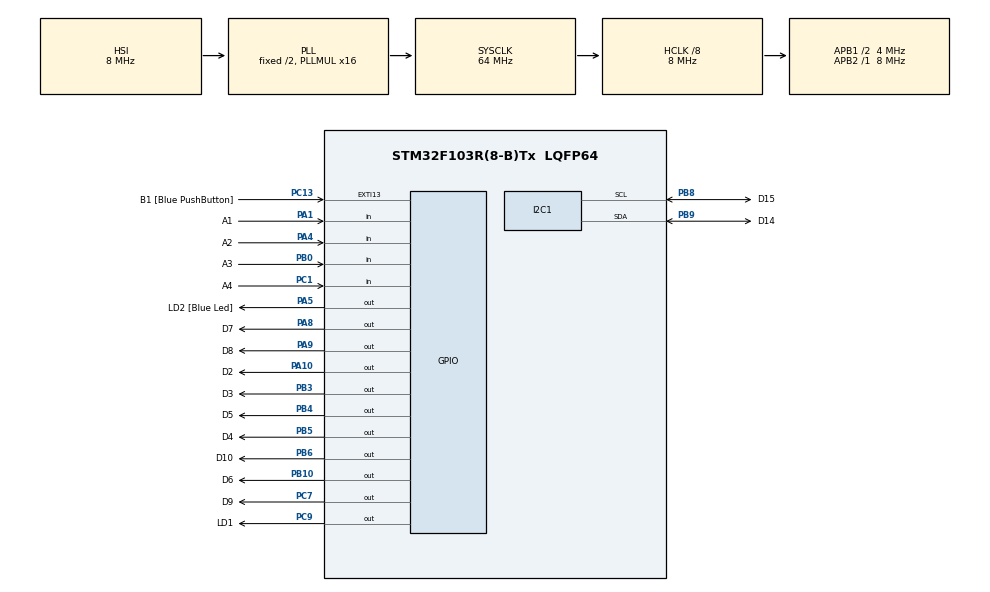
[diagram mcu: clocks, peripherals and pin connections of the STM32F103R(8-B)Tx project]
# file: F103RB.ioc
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Mcu.Family=STM32F1
Mcu.Name=STM32F103R(8-B)Tx
Mcu.Package=LQFP64
NVIC.EXTI15_10_IRQn=true\:0\:0\:false\:false\:true\:true\:true
NVIC.PriorityGroup=NVIC_PRIORITYGROUP_4
NVIC.TIM2_IRQn=true\:0\:0\:false\:false\:true\:true\:true
PA1.GPIO_Label=A1
PA1.GPIO_PuPd=GPIO_PULLUP
PA1.Signal=GPIO_Input
PA10.GPIO_Label=D2
PA10.Signal=GPIO_Output
PA13.GPIO_Label=TMS
PA13.Mode=Serial_Wire
PA13.Signal=SYS_JTMS-SWDIO
PA14.GPIO_Label=TCK
PA14.Mode=Serial_Wire
PA14.Signal=SYS_JTCK-SWCLK
PA2.GPIO_Label=USART_TX
PA2.GPIO_Mode=GPIO_MODE_AF_PP
PA2.GPIO_PuPd=GPIO_NOPULL
PA2.GPIO_Speed=GPIO_SPEED_FREQ_LOW
PA2.Signal=USART2_TX
PA3.GPIO_Label=USART_RX
PA3.GPIO_Mode=GPIO_MODE_AF_PP
PA3.GPIO_PuPd=GPIO_NOPULL
PA3.GPIO_Speed=GPIO_SPEED_FREQ_LOW
PA3.Signal=USART2_RX
PA4.GPIO_Label=A2
PA4.GPIO_PuPd=GPIO_PULLUP
PA4.Signal=GPIO_Input
PA5.GPIO_Label=LD2 [Blue Led]
PA5.GPIO_ModeDefaultOutputPP=GPIO_MODE_OUTPUT_PP
PA5.GPIO_PuPd=GPIO_NOPULL
PA5.GPIO_Speed=GPIO_SPEED_FREQ_LOW
PA5.Signal=GPIO_Output
PA8.GPIO_Label=D7
PA8.Signal=GPIO_Output
PA9.GPIO_Label=D8
PA9.Signal=GPIO_Output
PB0.GPIO_Label=A3
PB0.GPIO_PuPd=GPIO_PULLUP
PB0.Signal=GPIO_Input
PB10.GPIO_Label=D6
PB10.Signal=GPIO_Output
PB3.GPIO_Label=D3
PB3.Signal=GPIO_Output
PB4.GPIO_Label=D5
PB4.Signal=GPIO_Output
PB5.GPIO_Label=D4
PB5.Signal=GPIO_Output
PB6.GPIO_Label=D10
PB6.Signal=GPIO_Output
PB8.GPIO_Label=D15
PB8.Mode=I2C
PB8.Signal=I2C1_SCL
PB9.GPIO_Label=D14
PB9.Mode=I2C
PB9.Signal=I2C1_SDA
PC1.GPIO_Label=A4
PC1.GPIO_PuPd=GPIO_PULLUP
PC1.Signal=GPIO_Input
PC13-TAMPER-RTC.GPIO_Label=B1 [Blue PushButton]
PC13-TAMPER-RTC.GPIO_PuPd=GPIO_PULLUP
PC13-TAMPER-RTC.Signal=GPXTI13
PC14-OSC32_IN.Mode=LSE-External-Oscillator
PC14-OSC32_IN.Signal=RCC_OSC32_IN
PC15-OSC32_OUT.Mode=LSE-External-Oscillator
PC15-OSC32_OUT.Signal=RCC_OSC32_OUT
PC7.GPIO_Label=D9
PC7.Signal=GPIO_Output
PC9.GPIO_Label=LD1
PC9.Signal=GPIO_Output
PD0-OSC_IN.Mode=HSE-External-Clock-Source
PD0-OSC_IN.Signal=RCC_OSC_IN
PD1-OSC_OUT.Mode=HSE-External-Clock-Source
PD1-OSC_OUT.Signal=RCC_OSC_OUT
ProjectManager.HeapSize=0x200
ProjectManager.StackSize=0x400
ProjectManager.TargetToolchain=STM32CubeIDE
RCC.AHBCLKDivider=RCC_SYSCLK_DIV8
RCC.AHBFreq_Value=8000000
RCC.APB1CLKDivider=RCC_HCLK_DIV2
RCC.APB1Freq_Value=4000000
RCC.APB1TimFreq_Value=8000000
RCC.APB2Freq_Value=8000000
RCC.APB2TimFreq_Value=8000000
RCC.HCLKFreq_Value=8000000
RCC.PLLMUL=RCC_PLL_MUL16
RCC.RTCClockSelection=RCC_RTCCLKSOURCE_LSE
RCC.SYSCLKFreq_VALUE=64000000
RCC.SYSCLKSource=RCC_SYSCLKSOURCE_PLLCLK
RCC.USBFreq_Value=64000000
TIM2.Period=9
TIM2.Prescaler=6399
VP_TIM2_VS_ClockSourceINT.Mode=Internal
board=NUCLEO-F103RB

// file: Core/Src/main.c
/* USER CODE BEGIN Header */
/**
  ******************************************************************************
  * @file           : main.c
  * @brief          : Main program body
  ******************************************************************************
  * @attention
  *
  * <h2><center>&copy; Copyright (c) 2024 STMicroelectronics.
  * All rights reserved.</center></h2>
  *
  * This software component is licensed by ST under BSD 3-Clause license,
  * the "License"; You may not use this file except in compliance with the
  * License. You may obtain a copy of the License at:
  *                        opensource.org/licenses/BSD-3-Clause
  *
  ******************************************************************************
  */
/* USER CODE END Header */
#include "main.h"

/* USER CODE BEGIN Includes */
#include "global.h"
/* USER CODE END Includes */

I2C_HandleTypeDef hi2c1;

TIM_HandleTypeDef htim2;

void SystemClock_Config(void);
static void MX_GPIO_Init(void);
static void MX_TIM2_Init(void);
static void MX_I2C1_Init(void);

/* USER CODE BEGIN 0 */
	void test_io(){
		HAL_GPIO_WritePin(GPIOA, A1_Pin | A2_Pin, 0);
		HAL_GPIO_WritePin(LD2_GPIO_Port, LD2_Pin, HAL_GPIO_ReadPin(A1_GPIO_Port, A1_Pin));
		HAL_GPIO_WritePin(LD1_GPIO_Port, LD1_Pin, HAL_GPIO_ReadPin(A2_GPIO_Port, A2_Pin));

	}
	void ledBlinky(){
		HAL_GPIO_TogglePin(LD2_GPIO_Port, LD2_Pin);
	}
/* USER CODE END 0 */

int main(void)
{

  /* MCU Configuration--------------------------------------------------------*/

  /* Reset of all peripherals, Initializes the Flash interface and the Systick. */
  HAL_Init();

  /* Configure the system clock */
  SystemClock_Config();

  /* Initialize all configured peripherals */
  MX_GPIO_Init();
  MX_TIM2_Init();
  MX_I2C1_Init();
  /* USER CODE BEGIN 2 */
  lcd_init();
    SCH_Init();
  HAL_TIM_Base_Start_IT(&htim2);

  /* USER CODE END 2 */

  /* Infinite loop */
  /* USER CODE BEGIN WHILE */
//  setTimer(0, 100);//time automatic
//  setTimer(1, 100);//lcd
//  //setTimer(2, 100);//count down
//  setTimer(4, 100);//toggle led0
  SCH_Add_Task(getKeyInput, 1, 1, 10);
  SCH_Add_Task(ledBlinky, 2, 50, 9);
  SCH_Add_Task(fsm_automatic_run, 2, 100, 1);

  while (1)
  {
	  SCH_Dispatch_Tasks();

    /* USER CODE END WHILE */

  }
}

void SystemClock_Config(void)
{
  RCC_OscInitTypeDef RCC_OscInitStruct = {0};
  RCC_ClkInitTypeDef RCC_ClkInitStruct = {0};

  /** Initializes the RCC Oscillators according to the specified parameters
  * in the RCC_OscInitTypeDef structure.
  */
  RCC_OscInitStruct.OscillatorType = RCC_OSCILLATORTYPE_HSI;
  RCC_OscInitStruct.HSIState = RCC_HSI_ON;
  RCC_OscInitStruct.HSICalibrationValue = RCC_HSICALIBRATION_DEFAULT;
  RCC_OscInitStruct.PLL.PLLState = RCC_PLL_ON;
  RCC_OscInitStruct.PLL.PLLSource = RCC_PLLSOURCE_HSI_DIV2;
  RCC_OscInitStruct.PLL.PLLMUL = RCC_PLL_MUL16;
  if (HAL_RCC_OscConfig(&RCC_OscInitStruct) != HAL_OK)
  {
    Error_Handler();
  }
  /** Initializes the CPU, AHB and APB buses clocks
  */
  RCC_ClkInitStruct.ClockType = RCC_CLOCKTYPE_HCLK|RCC_CLOCKTYPE_SYSCLK
                              |RCC_CLOCKTYPE_PCLK1|RCC_CLOCKTYPE_PCLK2;
  RCC_ClkInitStruct.SYSCLKSource = RCC_SYSCLKSOURCE_PLLCLK;
  RCC_ClkInitStruct.AHBCLKDivider = RCC_SYSCLK_DIV8;
  RCC_ClkInitStruct.APB1CLKDivider = RCC_HCLK_DIV2;
  RCC_ClkInitStruct.APB2CLKDivider = RCC_HCLK_DIV1;

  if (HAL_RCC_ClockConfig(&RCC_ClkInitStruct, FLASH_LATENCY_2) != HAL_OK)
  {
    Error_Handler();
  }
}

static void MX_I2C1_Init(void)
{

  hi2c1.Instance = I2C1;
  hi2c1.Init.ClockSpeed = 100000;
  hi2c1.Init.DutyCycle = I2C_DUTYCYCLE_2;
  hi2c1.Init.OwnAddress1 = 0;
  hi2c1.Init.AddressingMode = I2C_ADDRESSINGMODE_7BIT;
  hi2c1.Init.DualAddressMode = I2C_DUALADDRESS_DISABLE;
  hi2c1.Init.OwnAddress2 = 0;
  hi2c1.Init.GeneralCallMode = I2C_GENERALCALL_DISABLE;
  hi2c1.Init.NoStretchMode = I2C_NOSTRETCH_DISABLE;
  if (HAL_I2C_Init(&hi2c1) != HAL_OK)
  {
    Error_Handler();
  }

}

static void MX_TIM2_Init(void)
{

  TIM_ClockConfigTypeDef sClockSourceConfig = {0};
  TIM_MasterConfigTypeDef sMasterConfig = {0};

  htim2.Instance = TIM2;
  htim2.Init.Prescaler = 6399;
  htim2.Init.CounterMode = TIM_COUNTERMODE_UP;
  htim2.Init.Period = 9;
  htim2.Init.ClockDivision = TIM_CLOCKDIVISION_DIV1;
  htim2.Init.AutoReloadPreload = TIM_AUTORELOAD_PRELOAD_DISABLE;
  if (HAL_TIM_Base_Init(&htim2) != HAL_OK)
  {
    Error_Handler();
  }
  sClockSourceConfig.ClockSource = TIM_CLOCKSOURCE_INTERNAL;
  if (HAL_TIM_ConfigClockSource(&htim2, &sClockSourceConfig) != HAL_OK)
  {
    Error_Handler();
  }
  sMasterConfig.MasterOutputTrigger = TIM_TRGO_RESET;
  sMasterConfig.MasterSlaveMode = TIM_MASTERSLAVEMODE_DISABLE;
  if (HAL_TIMEx_MasterConfigSynchronization(&htim2, &sMasterConfig) != HAL_OK)
  {
    Error_Handler();
  }

}

static void MX_GPIO_Init(void)
{
  GPIO_InitTypeDef GPIO_InitStruct = {0};

  /* GPIO Ports Clock Enable */
  __HAL_RCC_GPIOC_CLK_ENABLE();
  __HAL_RCC_GPIOD_CLK_ENABLE();
  __HAL_RCC_GPIOA_CLK_ENABLE();
  __HAL_RCC_GPIOB_CLK_ENABLE();

  /*Configure GPIO pin Output Level */
  HAL_GPIO_WritePin(GPIOA, LD2_Pin|D7_Pin|D8_Pin|D2_Pin, GPIO_PIN_RESET);

  /*Configure GPIO pin Output Level */
  HAL_GPIO_WritePin(GPIOB, D6_Pin|D3_Pin|D5_Pin|D4_Pin
                          |D10_Pin, GPIO_PIN_RESET);

  /*Configure GPIO pin Output Level */
  HAL_GPIO_WritePin(GPIOC, D9_Pin|LD1_Pin, GPIO_PIN_RESET);

  /*Configure GPIO pin : B1_Pin */
  GPIO_InitStruct.Pin = B1_Pin;
  GPIO_InitStruct.Mode = GPIO_MODE_IT_RISING;
  GPIO_InitStruct.Pull = GPIO_PULLUP;
  HAL_GPIO_Init(B1_GPIO_Port, &GPIO_InitStruct);

  /*Configure GPIO pin : A4_Pin */
  GPIO_InitStruct.Pin = A4_Pin;
  GPIO_InitStruct.Mode = GPIO_MODE_INPUT;
  GPIO_InitStruct.Pull = GPIO_PULLUP;
  HAL_GPIO_Init(A4_GPIO_Port, &GPIO_InitStruct);

  /*Configure GPIO pins : A1_Pin A2_Pin */
  GPIO_InitStruct.Pin = A1_Pin|A2_Pin;
  GPIO_InitStruct.Mode = GPIO_MODE_INPUT;
  GPIO_InitStruct.Pull = GPIO_PULLUP;
  HAL_GPIO_Init(GPIOA, &GPIO_InitStruct);

  /*Configure GPIO pins : USART_TX_Pin USART_RX_Pin */
  GPIO_InitStruct.Pin = USART_TX_Pin|USART_RX_Pin;
  GPIO_InitStruct.Mode = GPIO_MODE_AF_PP;
  GPIO_InitStruct.Speed = GPIO_SPEED_FREQ_LOW;
  HAL_GPIO_Init(GPIOA, &GPIO_InitStruct);

  /*Configure GPIO pins : LD2_Pin D7_Pin D8_Pin D2_Pin */
  GPIO_InitStruct.Pin = LD2_Pin|D7_Pin|D8_Pin|D2_Pin;
  GPIO_InitStruct.Mode = GPIO_MODE_OUTPUT_PP;
  GPIO_InitStruct.Pull = GPIO_NOPULL;
  GPIO_InitStruct.Speed = GPIO_SPEED_FREQ_LOW;
  HAL_GPIO_Init(GPIOA, &GPIO_InitStruct);

  /*Configure GPIO pin : A3_Pin */
  GPIO_InitStruct.Pin = A3_Pin;
  GPIO_InitStruct.Mode = GPIO_MODE_INPUT;
  GPIO_InitStruct.Pull = GPIO_PULLUP;
  HAL_GPIO_Init(A3_GPIO_Port, &GPIO_InitStruct);

  /*Configure GPIO pins : D6_Pin D3_Pin D5_Pin D4_Pin
                           D10_Pin */
  GPIO_InitStruct.Pin = D6_Pin|D3_Pin|D5_Pin|D4_Pin
                          |D10_Pin;
  GPIO_InitStruct.Mode = GPIO_MODE_OUTPUT_PP;
  GPIO_InitStruct.Pull = GPIO_NOPULL;
  GPIO_InitStruct.Speed = GPIO_SPEED_FREQ_LOW;
  HAL_GPIO_Init(GPIOB, &GPIO_InitStruct);

  /*Configure GPIO pins : D9_Pin LD1_Pin */
  GPIO_InitStruct.Pin = D9_Pin|LD1_Pin;
  GPIO_InitStruct.Mode = GPIO_MODE_OUTPUT_PP;
  GPIO_InitStruct.Pull = GPIO_NOPULL;
  GPIO_InitStruct.Speed = GPIO_SPEED_FREQ_LOW;
  HAL_GPIO_Init(GPIOC, &GPIO_InitStruct);

  /* EXTI interrupt init*/
  HAL_NVIC_SetPriority(EXTI15_10_IRQn, 0, 0);
  HAL_NVIC_EnableIRQ(EXTI15_10_IRQn);

}

/* USER CODE BEGIN 4 */
void HAL_TIM_PeriodElapsedCallback(TIM_HandleTypeDef *htim){
	SCH_Update();
}
/* USER CODE END 4 */

void Error_Handler(void)
{
  __disable_irq();
  while (1)
  {
  }
}

/************************ (C) COPYRIGHT STMicroelectronics *****END OF FILE****/
